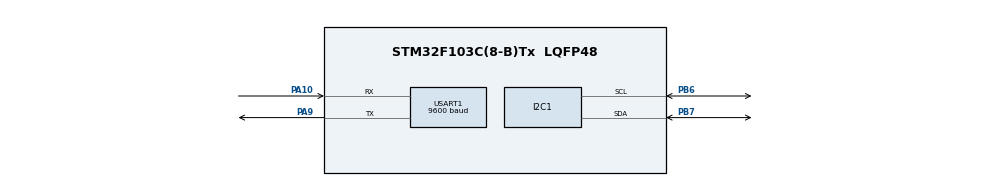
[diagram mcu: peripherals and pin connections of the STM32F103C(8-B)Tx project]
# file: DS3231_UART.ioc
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Mcu.Family=STM32F1
Mcu.Name=STM32F103C(8-B)Tx
Mcu.Package=LQFP48
NVIC.PriorityGroup=NVIC_PRIORITYGROUP_4
NVIC.USART1_IRQn=true\:0\:0\:false\:false\:true\:true\:true\:true
PA10.Mode=Asynchronous
PA10.Signal=USART1_RX
PA13.Mode=Serial_Wire
PA13.Signal=SYS_JTMS-SWDIO
PA14.Mode=Serial_Wire
PA14.Signal=SYS_JTCK-SWCLK
PA9.Mode=Asynchronous
PA9.Signal=USART1_TX
PB6.Mode=I2C
PB6.Signal=I2C1_SCL
PB7.Mode=I2C
PB7.Signal=I2C1_SDA
ProjectManager.HeapSize=0x200
ProjectManager.StackSize=0x400
ProjectManager.TargetToolchain=MDK-ARM V5.32
RCC.APB1Freq_Value=8000000
RCC.APB2Freq_Value=8000000
USART1.BaudRate=9600
USART1.VirtualMode=VM_ASYNC
board=custom

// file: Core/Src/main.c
/* USER CODE BEGIN Header */
/**
  ******************************************************************************
  * @file           : main.c
  * @brief          : Main program body
  ******************************************************************************
  * @attention
  *
  * Copyright (c) 2023 STMicroelectronics.
  * All rights reserved.
  *
  * This software is licensed under terms that can be found in the LICENSE file
  * in the root directory of this software component.
  * If no LICENSE file comes with this software, it is provided AS-IS.
  *
  ******************************************************************************
  */
/* USER CODE END Header */
#include "main.h"

/* USER CODE BEGIN Includes */
#include "stm32f1xx_hal.h"
#include "stdio.h"
/* USER CODE END Includes */

I2C_HandleTypeDef hi2c1;

UART_HandleTypeDef huart1;

/* USER CODE BEGIN PV */
uint8_t sec =0x50;
uint8_t min =0x59;
uint8_t hour=0x23;
uint8_t date=0x20;
uint8_t month=0x10;
uint8_t year=0x20;

uint16_t data[40];
static const uint16_t DS3231_ADDR=0x68<<1;
/* USER CODE END PV */

void SystemClock_Config(void);
static void MX_GPIO_Init(void);
static void MX_I2C1_Init(void);
static void MX_USART1_UART_Init(void);

/* USER CODE BEGIN 0 */
uint8_t BCD (uint8_t data)
{
	return data -6*(data>>4);
}
/* USER CODE END 0 */

int main(void)
{

  /* MCU Configuration--------------------------------------------------------*/

  /* Reset of all peripherals, Initializes the Flash interface and the Systick. */
  HAL_Init();

  /* Configure the system clock */
  SystemClock_Config();

  /* Initialize all configured peripherals */
  MX_GPIO_Init();
  MX_I2C1_Init();
  MX_USART1_UART_Init();
  /* USER CODE BEGIN 2 */
	HAL_I2C_Mem_Write(&hi2c1,DS3231_ADDR <<1 ,0x00, 1,&sec,1,50);
	HAL_I2C_Mem_Write(&hi2c1,DS3231_ADDR <<1 ,0x01, 1,&min,1,50);
	HAL_I2C_Mem_Write(&hi2c1,DS3231_ADDR <<1 ,0x02, 1,&hour,1,50);

	HAL_I2C_Mem_Write(&hi2c1,DS3231_ADDR <<1 ,0x04, 1,&date,1,50);
	HAL_I2C_Mem_Write(&hi2c1,DS3231_ADDR <<1 ,0x05, 1,&month,1,50);
  HAL_I2C_Mem_Write(&hi2c1,DS3231_ADDR <<1 ,0x06, 1,&year,1,50);
  /* USER CODE END 2 */

  /* Infinite loop */
  while (1)
  {

    /* USER CODE BEGIN 3 */
	  HAL_I2C_Mem_Read(&hi2c1,DS3231_ADDR <<1 ,0x00, 1,&sec,1,50);
	  HAL_I2C_Mem_Read(&hi2c1,DS3231_ADDR <<1 ,0x01, 1,&min,1,50);
	  HAL_I2C_Mem_Read(&hi2c1,DS3231_ADDR <<1 ,0x02, 1,&hour,1,50);

	  HAL_I2C_Mem_Read(&hi2c1,DS3231_ADDR <<1 ,0x04, 1,&date,1,50);
	  HAL_I2C_Mem_Read(&hi2c1,DS3231_ADDR <<1 ,0x05, 1,&month,1,50);
    HAL_I2C_Mem_Read(&hi2c1,DS3231_ADDR <<1 ,0x06, 1,&year,1,50);

		sprintf((char *)&data[0],"time: %d%d:%d%d:%d%d  %d%d:%d%d:20%d",BCD(hour)/10,BCD(hour)%10,BCD(min)/10,BCD(min)%10,BCD(sec)/10,BCD(sec)%10
		,BCD(date)/10,BCD(date)%10,BCD(month)/10,BCD(month)%10,BCD(year));
		HAL_UART_Transmit(&huart1,(unsigned char *)&data[0],sizeof(data),50);
		HAL_Delay(500);
  }
  /* USER CODE END 3 */
}

void SystemClock_Config(void)
{
  RCC_OscInitTypeDef RCC_OscInitStruct = {0};
  RCC_ClkInitTypeDef RCC_ClkInitStruct = {0};

  /** Initializes the RCC Oscillators according to the specified parameters
  * in the RCC_OscInitTypeDef structure.
  */
  RCC_OscInitStruct.OscillatorType = RCC_OSCILLATORTYPE_HSI;
  RCC_OscInitStruct.HSIState = RCC_HSI_ON;
  RCC_OscInitStruct.HSICalibrationValue = RCC_HSICALIBRATION_DEFAULT;
  RCC_OscInitStruct.PLL.PLLState = RCC_PLL_NONE;
  if (HAL_RCC_OscConfig(&RCC_OscInitStruct) != HAL_OK)
  {
    Error_Handler();
  }

  /** Initializes the CPU, AHB and APB buses clocks
  */
  RCC_ClkInitStruct.ClockType = RCC_CLOCKTYPE_HCLK|RCC_CLOCKTYPE_SYSCLK
                              |RCC_CLOCKTYPE_PCLK1|RCC_CLOCKTYPE_PCLK2;
  RCC_ClkInitStruct.SYSCLKSource = RCC_SYSCLKSOURCE_HSI;
  RCC_ClkInitStruct.AHBCLKDivider = RCC_SYSCLK_DIV1;
  RCC_ClkInitStruct.APB1CLKDivider = RCC_HCLK_DIV1;
  RCC_ClkInitStruct.APB2CLKDivider = RCC_HCLK_DIV1;

  if (HAL_RCC_ClockConfig(&RCC_ClkInitStruct, FLASH_LATENCY_0) != HAL_OK)
  {
    Error_Handler();
  }
}

static void MX_I2C1_Init(void)
{

  hi2c1.Instance = I2C1;
  hi2c1.Init.ClockSpeed = 100000;
  hi2c1.Init.DutyCycle = I2C_DUTYCYCLE_2;
  hi2c1.Init.OwnAddress1 = 0;
  hi2c1.Init.AddressingMode = I2C_ADDRESSINGMODE_7BIT;
  hi2c1.Init.DualAddressMode = I2C_DUALADDRESS_DISABLE;
  hi2c1.Init.OwnAddress2 = 0;
  hi2c1.Init.GeneralCallMode = I2C_GENERALCALL_DISABLE;
  hi2c1.Init.NoStretchMode = I2C_NOSTRETCH_DISABLE;
  if (HAL_I2C_Init(&hi2c1) != HAL_OK)
  {
    Error_Handler();
  }

}

static void MX_USART1_UART_Init(void)
{

  huart1.Instance = USART1;
  huart1.Init.BaudRate = 9600;
  huart1.Init.WordLength = UART_WORDLENGTH_8B;
  huart1.Init.StopBits = UART_STOPBITS_1;
  huart1.Init.Parity = UART_PARITY_NONE;
  huart1.Init.Mode = UART_MODE_TX_RX;
  huart1.Init.HwFlowCtl = UART_HWCONTROL_NONE;
  huart1.Init.OverSampling = UART_OVERSAMPLING_16;
  if (HAL_UART_Init(&huart1) != HAL_OK)
  {
    Error_Handler();
  }

}

static void MX_GPIO_Init(void)
{

  /* GPIO Ports Clock Enable */
  __HAL_RCC_GPIOA_CLK_ENABLE();
  __HAL_RCC_GPIOB_CLK_ENABLE();

}

void Error_Handler(void)
{
  __disable_irq();
  while (1)
  {
  }
}
